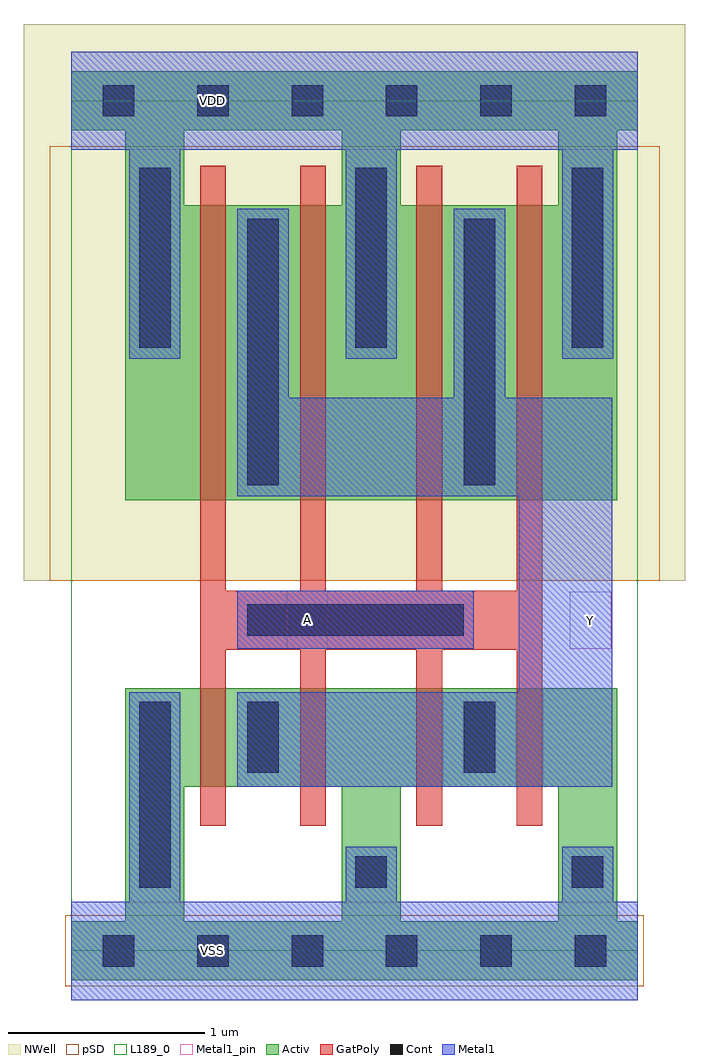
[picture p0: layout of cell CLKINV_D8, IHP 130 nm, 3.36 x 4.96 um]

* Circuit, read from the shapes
.subckt CLKINV_D8 A VDD VSS Y
XM1 Y A VSS VSS sg13_lv_nmos w=0.5u l=0.13u m=4
XM2 Y A VDD VDD sg13_lv_pmos w=1.5u l=0.13u m=4
.ends

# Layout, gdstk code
import gdstk
lib = gdstk.Library(unit=1e-6, precision=1e-09)
def R(c, l, rs):  # rectangles x0, y0, x1, y1
    for r in rs: c.add(gdstk.rectangle(r[:2], r[2:], *l))
def A(c, l, x, y, w, h, nx, ny, dx, dy):  # array of equal rectangles
    R(c, l, [(x+i*dx, y+j*dy, x+i*dx+w, y+j*dy+h) for i in range(nx) for j in range(ny)])
def P(c, l, *ps):  # polygons
    for p in ps: c.add(gdstk.Polygon(p, *l))
Activ = (1, 0)
GatPoly = (5, 0)
Cont = (6, 0)
Metal1 = (8, 0)
Metal1_pin = (8, 2)
pSD = (14, 0)
NWell = (31, 0)
L189_0 = (189, 0)

clkinv_d8 = lib.new_cell('CLKINV_D8')
P(clkinv_d8, Activ, [(0.275,2.29),(0.275,4.17),(0.575,4.17),(0.575,3.79),(1.375,3.79),(1.675,3.79),(2.475,3.79),(2.475,4.17),(1.675,4.17),(1.675,3.79),(1.375,3.79),(1.375,4.17),(0,4.17),(0,4.47),(2.88,4.47),(2.88,4.17),(2.775,4.17),(2.775,2.29)],
  [(0,-0.15),(0,0.15),(0.275,0.15),(0.575,0.15),(1.375,0.15),(1.675,0.15),(2.475,0.15),(2.475,0.835),(1.675,0.835),(1.675,0.15),(1.375,0.15),(1.375,0.835),(0.575,0.835),(0.575,0.15),(0.275,0.15),(0.275,1.335),(2.775,1.335),(2.775,0.15),(2.88,0.15),(2.88,-0.15)])
P(clkinv_d8, GatPoly, [(0.655,0.635),(0.655,3.99),(0.785,3.99),(0.785,1.83),(1.165,1.83),(1.165,3.99),(1.295,3.99),(1.295,1.83),(1.755,1.83),(1.755,3.99),(1.885,3.99),(1.885,1.83),(2.265,1.83),(2.265,3.99),(2.395,3.99),(2.395,0.635),(2.265,0.635),(2.265,1.53),(1.885,1.53),(1.885,0.635),(1.755,0.635),(1.755,1.53),(1.295,1.53),(1.295,0.635),(1.165,0.635),(1.165,1.53),(0.785,1.53),(0.785,0.635)])
A(clkinv_d8, Cont, 0.16, -0.08, 0.16, 0.16, 6, 2, 0.48, 4.32)
A(clkinv_d8, Cont, 0.345, 3.065, 0.16, 0.915, 3, 1, 1.1, 0)
R(clkinv_d8, Cont, [(0.345,0.32,0.505,1.265), (1.445,0.32,1.605,0.48), (2.545,0.32,2.705,0.48), (0.895,0.905,1.055,1.265), (1.995,0.905,2.155,1.265), (0.895,1.6,1.995,1.76), (0.895,2.365,1.055,3.72), (1.995,2.365,2.155,3.72)])
R(clkinv_d8, Metal1, [(0.845,1.535,2.045,1.83), (0.295,3.01,0.555,4.07)])
P(clkinv_d8, Metal1, [(0.845,0.835),(0.845,1.315),(2.275,1.315),(2.275,2.31),(0.845,2.31),(0.845,3.77),(1.105,3.77),(1.105,2.81),(1.945,2.81),(1.945,3.77),(2.205,3.77),(2.205,2.81),(2.75,2.81),(2.75,0.835)],
  [(1.395,3.01),(1.395,4.07),(0,4.07),(0,4.57),(2.88,4.57),(2.88,4.07),(2.755,4.07),(2.755,3.01),(2.495,3.01),(2.495,4.07),(1.655,4.07),(1.655,3.01)],
  [(0,-0.25),(0,0.25),(0.295,0.25),(0.295,1.315),(0.555,1.315),(0.555,0.25),(1.395,0.25),(1.395,0.53),(1.655,0.53),(1.655,0.25),(2.495,0.25),(2.495,0.53),(2.755,0.53),(2.755,0.25),(2.88,0.25),(2.88,-0.25)])
R(clkinv_d8, Metal1_pin, [(0,-0.25,2.88,0.25), (1.095,1.535,1.305,1.83), (2.535,1.535,2.745,1.825), (0,4.07,2.88,4.57)])
R(clkinv_d8, pSD, [(-0.03,-0.18,2.91,0.18), (-0.11,1.88,2.99,4.09)])
R(clkinv_d8, NWell, [(-0.24,1.88,3.12,4.71)])
R(clkinv_d8, L189_0, [(0,0,2.88,4.32)])
clkinv_d8.add(gdstk.Label('VSS', (0.72,0), layer=8, texttype=25))
clkinv_d8.add(gdstk.Label('VDD', (0.72,4.32), layer=8, texttype=25))
clkinv_d8.add(gdstk.Label('Y', (2.64,1.68), layer=8, texttype=25))
clkinv_d8.add(gdstk.Label('A', (1.2,1.685), layer=8, texttype=25))

lib.write_gds('CLKINV_D8.gds')
